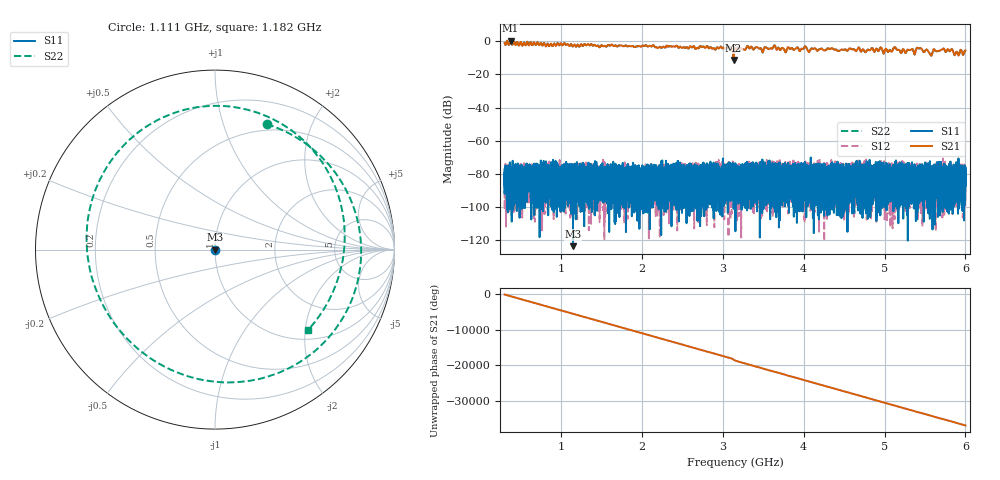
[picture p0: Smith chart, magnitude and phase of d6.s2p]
!Agilent Technologies,N5230C,SG49000117,A.08.50.07
!Agilent N5230C: A.08.50.07
!Date: Sunday, March 17, 2024 02:57:06
!Correction: S11(Off)
!S21(Off)
!S12(Off)
!S22(Off)
!S2P File: Measurements: S11, S21, S12, S22:
# Hz S  RI  R 50
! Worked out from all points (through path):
!   20001 points, 300 MHz to 6 GHz, reference 50 ohm
!   highest |S21| = 0.42 dB at 373.2 MHz (marker M1); lowest = -11.3 dB at 3.132 GHz (marker M2)
!   lowest |S11| = -123.7 dB at 1.146 GHz (marker M3), VSWR 1.00, Z = 50 + j6.5e-05 ohm
!   |S11| at or under -10 dB: start of sweep to end of sweep
!   |S22| runs from -11.3 to 0.5 dB; largest |S21 - S12| = 1
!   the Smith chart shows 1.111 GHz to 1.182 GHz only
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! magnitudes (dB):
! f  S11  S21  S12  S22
! 300 MHz  -79.5  -1.1  -78.1  -1.0
! 373.2 MHz  -88.6  0.4  -85.9  0.4
! 1.146 GHz  -123.7  -3.1  -77.4  -3.1
! 1.25 GHz  -81.4  -1.9  -80.9  -1.9
! 2.2 GHz  -82.9  -4.1  -84.7  -4.1
! 3.072 GHz  -82.7  -3.8  -91.3  -3.7
! 3.132 GHz  -78.1  -11.3  -78.1  -11.3
! 3.15 GHz  -82.4  -4.3  -90.5  -4.3
! 3.172 GHz  -79.3  -4.4  -88.9  -4.3
! 3.325 GHz  -80.7  -4.3  -83.5  -4.2
! 3.48 GHz  -79.1  -5.1  -89.1  -5.1
! 3.629 GHz  -84.8  -3.0  -78.9  -2.9
! 3.769 GHz  -74.1  -6.2  -84.4  -6.1
! 4.1 GHz  -92.5  -4.4  -84.5  -4.3
! 5.05 GHz  -89.7  -6.2  -78.2  -6.2
! 5.13 GHz  -85.3  -3.7  -82.7  -3.7
! 5.364 GHz  -80.7  -7.1  -81.5  -7.1
! 5.424 GHz  -83.4  -4.3  -78.0  -4.3
! 5.567 GHz  -95.7  -8.1  -87.4  -8.1
! 5.715 GHz  -89.9  -4.8  -79.6  -4.9
! 5.89 GHz  -76.7  -6.4  -82.5  -6.5
! 6 GHz  -76.7  -5.6  -76.8  -5.6
